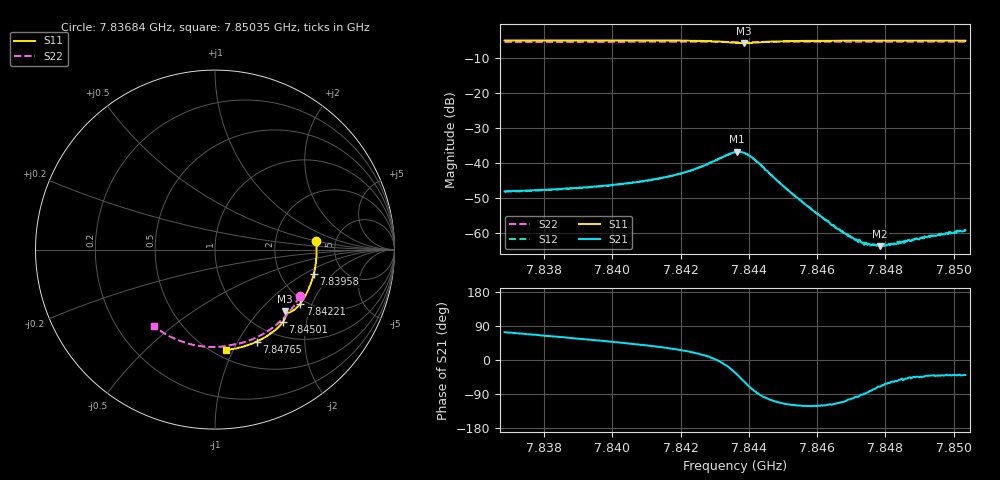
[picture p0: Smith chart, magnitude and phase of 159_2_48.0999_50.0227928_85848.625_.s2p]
#  HZ  S  RI  R  50.00
! Rohde & Schwarz Vector Network Analyzer
! Rohde-Schwarz,ZNB20-2Port,1311601062101988,3.16
! Created: UTC 12/23/2023, 3:50:34 AM
! freq[Hz]  re:S11  im:S11  re:S21  im:S21  re:S12  im:S12  re:S22  im:S22
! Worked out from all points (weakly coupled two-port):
!   401 points, 7.83684 GHz to 7.85035 GHz, reference 50 ohm
!   highest |S21| = -36.76 dB at 7.84366 GHz (marker M1); lowest = -63.8 dB at 7.84785 GHz (marker M2)
!   lowest |S11| = -5.7 dB at 7.84386 GHz (marker M3), VSWR 3.14, Z = 74.2 - j69.6 ohm
!   |S11| at or under -10 dB: nowhere
!   |S22| runs from -5.4 to -5.3 dB; largest |S21 - S12| = 0.00031
!   S11 on the Smith chart (normalised r, x): 7.83684 GHz: 3.54, +0.48; 7.83958 GHz: 3.08, -1.23; 7.84221 GHz: 1.87, -1.65; 7.84501 GHz: 1.26, -1.47; 7.84765 GHz: 0.80, -1.20; 7.85035 GHz: 0.57, -0.93
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7.836844e9  0.5641 0.046  0.00112 0.00378  0.00112 0.00371  0.4723 -0.2607
7.839106e9  0.5569 -0.1042  0.00252 0.00366  0.00252 0.00362  0.3772 -0.3867
7.839578e9  0.5506 -0.1351  0.0029 0.00365  0.00285 0.00362  0.3528 -0.4094
7.841367e9  0.5076 -0.2492  0.00497 0.00341  0.00495 0.00342  0.2495 -0.4801
7.842211e9  0.4757 -0.3004  0.00704 0.00294  0.00701 0.00294  0.1954 -0.5047
7.843089e9  0.4255 -0.3458  0.0113 -0.000178  0.0113 -0.000348  0.1366 -0.5228
7.843595e9  0.391 -0.3494  0.012 -0.00775  0.0119 -0.00783  0.1026 -0.5292
7.843662e9  0.3886 -0.3476  0.0113 -0.00914  0.0112 -0.0091  0.0984 -0.5299
7.843865e9  0.3873 -0.3431  0.0077 -0.0118  0.00763 -0.0117  0.0857 -0.5321
7.844202e9  0.3943 -0.3516  0.0012 -0.0108  0.00115 -0.0109  0.0638 -0.5365
7.845012e9  0.3772 -0.4045  -0.00198 -0.00425  -0.00196 -0.00431  0.00719 -0.5427
7.845856e9  0.3355 -0.4483  -0.00111 -0.00183  -0.00113 -0.00183  -0.0524 -0.5409
7.846497e9  0.2999 -0.4751  -0.000564 -0.00115  -0.000541 -0.00113  -0.0971 -0.5353
7.846936e9  0.2746 -0.4909  -0.000221 -0.000869  -0.000268 -0.000875  -0.1273 -0.5293
7.847341e9  0.2503 -0.5041  -1.53e-05 -0.000727  -2.7e-05 -0.000707  -0.1548 -0.5219
7.847645e9  0.2319 -0.5129  0.000148 -0.000676  0.000152 -0.000656  -0.1751 -0.5157
7.847848e9  0.2194 -0.5183  0.000224 -0.000609  0.000202 -0.000643  -0.1888 -0.511
7.848118e9  0.2027 -0.5252  0.000333 -0.000613  0.000304 -0.0006  -0.2063 -0.5043
7.848388e9  0.1857 -0.5315  0.000422 -0.000563  0.000425 -0.000592  -0.2237 -0.497
7.848624e9  0.1707 -0.5363  0.000495 -0.000582  0.000485 -0.00057  -0.239 -0.4901
7.849231e9  0.1317 -0.5471  0.000649 -0.000586  0.000647 -0.000615  -0.2766 -0.4702
7.850345e9  0.0587 -0.5593  0.000844 -0.000703  0.000827 -0.000703  -0.3411 -0.4265
